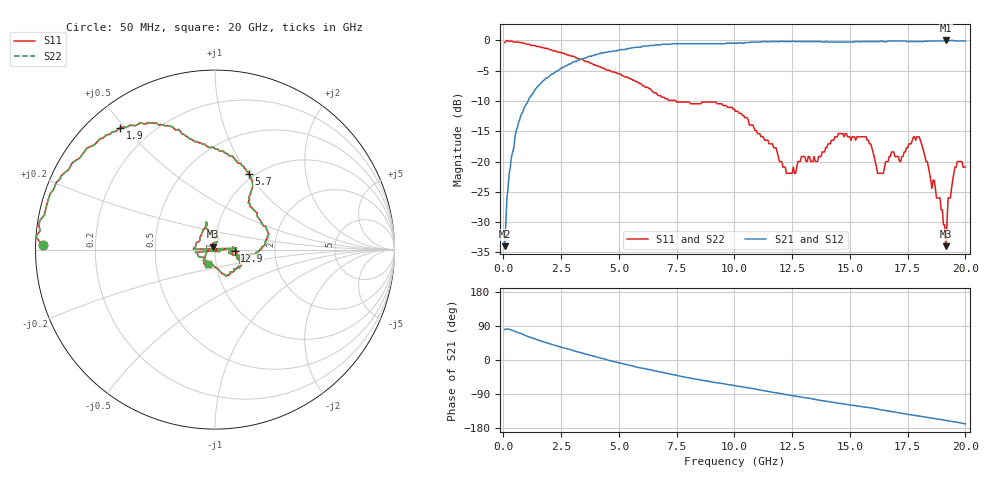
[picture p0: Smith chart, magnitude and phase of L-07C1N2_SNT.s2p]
#	mhz	s	ma	r	50
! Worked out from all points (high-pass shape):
!   400 points, 50 MHz to 20 GHz, reference 50 ohm
!   highest |S21| = 0.00 dB at 19.15 GHz (marker M1); lowest = -34.0 dB at 50 MHz (marker M2)
!   |S21| within 3 dB of the highest: 3.44 GHz to end of sweep
!   lowest |S11| = -34.0 dB at 19.15 GHz (marker M3), VSWR 1.04, Z = 48.8 + j1.53 ohm
!   |S11| at or under -10 dB: 7.469 GHz to end of sweep
!   |S22| runs from -34.0 to 0.0 dB; largest |S21 - S12| = 0
!   S11 on the Smith chart (normalised r, x): 50 MHz: 0.02, +0.01; 1.9 GHz: 0.09, +0.49; 5.7 GHz: 0.94, +1.00; 12.9 GHz: 1.25, -0.02; 20 GHz: 0.91, -0.15
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50  0.96 178.6  0.02 80.6  0.02 80.6  0.96 178.6
250  0.98 173.8  0.08 81.3  0.08 81.3  0.98 173.8
550  0.97 163.9  0.18 74.7  0.18 74.7  0.97 163.9
1900  0.86 127.8  0.49 44.9  0.49 44.9  0.86 127.8
3400  0.7 106.9  0.7 18.4  0.7 18.4  0.7 106.9
5700  0.46 66.0  0.88 -17.7  0.88 -17.7  0.46 66.0
6700  0.35 57.2  0.92 -30.4  0.92 -30.4  0.35 57.2
10050  0.26 2.9  0.95 -67.7  0.95 -67.7  0.26 2.9
12250  0.08 -11.6  0.98 -91.3  0.98 -91.3  0.08 -11.6
12900  0.11 -4.4  0.98 -98.0  0.98 -98.0  0.11 -4.4
13350  0.1 7.5  0.98 -102.4  0.98 -102.4  0.1 7.5
14500  0.17 -29.7  0.97 -114.0  0.97 -114.0  0.17 -29.7
16200  0.08 -102.4  0.98 -129.6  0.98 -129.6  0.08 -102.4
16700  0.11 -171.5  0.99 -134.9  0.99 -134.9  0.11 -171.5
16800  0.12 3.3  0.99 -135.9  0.99 -135.9  0.12 3.3
16850  0.12 178.8  0.99 -136.4  0.99 -136.4  0.12 178.8
18000  0.16 108.6  0.98 -148.1  0.98 -148.1  0.16 108.6
18900  0.05 74.9  0.99 -156.8  0.99 -156.8  0.05 74.9
19150  0.02 128.3  1 -159.4  1 -159.4  0.02 128.3
19250  0.05 -169.8  0.99 -160.4  0.99 -160.4  0.05 -169.8
19550  0.09 -136.5  0.99 -163.3  0.99 -163.3  0.09 -136.5
20000  0.09 -116.9  0.99 -168.3  0.99 -168.3  0.09 -116.9
